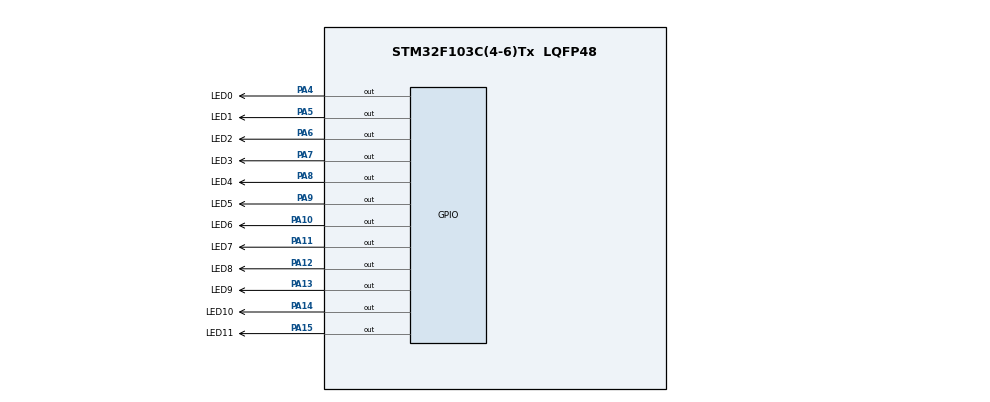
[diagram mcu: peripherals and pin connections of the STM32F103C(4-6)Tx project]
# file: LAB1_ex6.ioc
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Mcu.Family=STM32F1
Mcu.Name=STM32F103C(4-6)Tx
Mcu.Package=LQFP48
NVIC.PriorityGroup=NVIC_PRIORITYGROUP_4
PA10.GPIO_Label=LED6
PA10.Signal=GPIO_Output
PA11.GPIO_Label=LED7
PA11.Signal=GPIO_Output
PA12.GPIO_Label=LED8
PA12.Signal=GPIO_Output
PA13.GPIO_Label=LED9
PA13.Signal=GPIO_Output
PA14.GPIO_Label=LED10
PA14.Signal=GPIO_Output
PA15.GPIO_Label=LED11
PA15.Signal=GPIO_Output
PA4.GPIO_Label=LED0
PA4.Signal=GPIO_Output
PA5.GPIO_Label=LED1
PA5.Signal=GPIO_Output
PA6.GPIO_Label=LED2
PA6.Signal=GPIO_Output
PA7.GPIO_Label=LED3
PA7.Signal=GPIO_Output
PA8.GPIO_Label=LED4
PA8.Signal=GPIO_Output
PA9.GPIO_Label=LED5
PA9.Signal=GPIO_Output
ProjectManager.HeapSize=0x200
ProjectManager.StackSize=0x400
ProjectManager.TargetToolchain=STM32CubeIDE
RCC.APB1Freq_Value=8000000
RCC.APB2Freq_Value=8000000
VP_SYS_VS_ND.Mode=No_Debug
board=custom

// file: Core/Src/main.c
/* USER CODE BEGIN Header */
/**
  ******************************************************************************
  * @file           : main.c
  * @brief          : Main program body
  ******************************************************************************
  * @attention
  *
  * <h2><center>&copy; Copyright (c) 2025 STMicroelectronics.
  * All rights reserved.</center></h2>
  *
  * This software component is licensed by ST under BSD 3-Clause license,
  * the "License"; You may not use this file except in compliance with the
  * License. You may obtain a copy of the License at:
  *                        opensource.org/licenses/BSD-3-Clause
  *
  ******************************************************************************
  */
/* USER CODE END Header */
#include "main.h"

void SystemClock_Config(void);
static void MX_GPIO_Init(void);

/* USER CODE BEGIN 0 */
typedef struct {
    GPIO_TypeDef *port;
    uint16_t pin;
} Led;

static const Led LEDS[12] = {
    {LED0_GPIO_Port, LED0_Pin},
    {LED1_GPIO_Port, LED1_Pin},
    {LED2_GPIO_Port, LED2_Pin},
    {LED3_GPIO_Port, LED3_Pin},
    {LED4_GPIO_Port, LED4_Pin},
    {LED5_GPIO_Port, LED5_Pin},
    {LED6_GPIO_Port, LED6_Pin},
    {LED7_GPIO_Port, LED7_Pin},
    {LED8_GPIO_Port, LED8_Pin},
    {LED9_GPIO_Port, LED9_Pin},
    {LED10_GPIO_Port, LED10_Pin},
    {LED11_GPIO_Port, LED11_Pin}
};
void turnAllClock() {
	for (int num = 0; num < 12; num++) {
		HAL_GPIO_WritePin(LEDS[num].port, LEDS[num].pin, GPIO_PIN_RESET);
	}
}
void clearAllClock() {
    for (int i = 0; i < 12; i++) {
        HAL_GPIO_WritePin(LEDS[i].port, LEDS[i].pin, GPIO_PIN_SET);
    }
}

void setNumberOnClock(int num) {
    HAL_GPIO_WritePin(LEDS[num].port, LEDS[num].pin, GPIO_PIN_RESET);
}

void clearNumberOnClock (int num) {
	 HAL_GPIO_WritePin(LEDS[num].port, LEDS[num].pin, GPIO_PIN_SET);
}

void displayTime (int hr, int min, int sec) {
    static int prev_hr  = -1;
    static int prev_min = -1;
    static int prev_sec = -1;

    int sec_idx = sec / 5;
    int min_idx = min / 5;
    int hr_idx  = hr % 12;

    if (prev_hr  != -1 && prev_hr  != hr_idx)  clearNumberOnClock(prev_hr);
    if (prev_min != -1 && prev_min != min_idx) clearNumberOnClock(prev_min);
    if (prev_sec != -1 && prev_sec != sec_idx) clearNumberOnClock(prev_sec);

    setNumberOnClock(hr_idx);
    setNumberOnClock(min_idx);
    setNumberOnClock(sec_idx);

    prev_hr  = hr_idx;
    prev_min = min_idx;
    prev_sec = sec_idx;
}
void clock () {
	static int hr = 0;
	static int min = 0;
	static int sec = 5;
	displayTime(hr, min, sec);
	sec++;
	if (sec >=60) {
		sec = 0;
		min++;
		if (min >= 60) {
			min = 0;
			hr++;
			if (hr >= 12) {
				hr = 0;
			}
		}
	}
}

/* USER CODE END 0 */

int main(void)
{

  /* MCU Configuration--------------------------------------------------------*/

  /* Reset of all peripherals, Initializes the Flash interface and the Systick. */
  HAL_Init();

  /* Configure the system clock */
  SystemClock_Config();

  /* Initialize all configured peripherals */
  MX_GPIO_Init();
  /* USER CODE BEGIN 2 */
  clearAllClock();
  /* USER CODE END 2 */

  /* Infinite loop */
  /* USER CODE BEGIN WHILE */
  while (1)
  {
	  clock();
	  HAL_Delay(10);
    /* USER CODE END WHILE */

  }
}

void SystemClock_Config(void)
{
  RCC_OscInitTypeDef RCC_OscInitStruct = {0};
  RCC_ClkInitTypeDef RCC_ClkInitStruct = {0};

  /** Initializes the RCC Oscillators according to the specified parameters
  * in the RCC_OscInitTypeDef structure.
  */
  RCC_OscInitStruct.OscillatorType = RCC_OSCILLATORTYPE_HSI;
  RCC_OscInitStruct.HSIState = RCC_HSI_ON;
  RCC_OscInitStruct.HSICalibrationValue = RCC_HSICALIBRATION_DEFAULT;
  RCC_OscInitStruct.PLL.PLLState = RCC_PLL_NONE;
  if (HAL_RCC_OscConfig(&RCC_OscInitStruct) != HAL_OK)
  {
    Error_Handler();
  }
  /** Initializes the CPU, AHB and APB buses clocks
  */
  RCC_ClkInitStruct.ClockType = RCC_CLOCKTYPE_HCLK|RCC_CLOCKTYPE_SYSCLK
                              |RCC_CLOCKTYPE_PCLK1|RCC_CLOCKTYPE_PCLK2;
  RCC_ClkInitStruct.SYSCLKSource = RCC_SYSCLKSOURCE_HSI;
  RCC_ClkInitStruct.AHBCLKDivider = RCC_SYSCLK_DIV1;
  RCC_ClkInitStruct.APB1CLKDivider = RCC_HCLK_DIV1;
  RCC_ClkInitStruct.APB2CLKDivider = RCC_HCLK_DIV1;

  if (HAL_RCC_ClockConfig(&RCC_ClkInitStruct, FLASH_LATENCY_0) != HAL_OK)
  {
    Error_Handler();
  }
}

static void MX_GPIO_Init(void)
{
  GPIO_InitTypeDef GPIO_InitStruct = {0};

  /* GPIO Ports Clock Enable */
  __HAL_RCC_GPIOA_CLK_ENABLE();

  /*Configure GPIO pin Output Level */
  HAL_GPIO_WritePin(GPIOA, LED0_Pin|LED1_Pin|LED2_Pin|LED3_Pin
                          |LED4_Pin|LED5_Pin|LED6_Pin|LED7_Pin
                          |LED8_Pin|LED9_Pin|LED10_Pin|LED11_Pin, GPIO_PIN_RESET);

  /*Configure GPIO pins : LED0_Pin LED1_Pin LED2_Pin LED3_Pin
                           LED4_Pin LED5_Pin LED6_Pin LED7_Pin
                           LED8_Pin LED9_Pin LED10_Pin LED11_Pin */
  GPIO_InitStruct.Pin = LED0_Pin|LED1_Pin|LED2_Pin|LED3_Pin
                          |LED4_Pin|LED5_Pin|LED6_Pin|LED7_Pin
                          |LED8_Pin|LED9_Pin|LED10_Pin|LED11_Pin;
  GPIO_InitStruct.Mode = GPIO_MODE_OUTPUT_PP;
  GPIO_InitStruct.Pull = GPIO_NOPULL;
  GPIO_InitStruct.Speed = GPIO_SPEED_FREQ_LOW;
  HAL_GPIO_Init(GPIOA, &GPIO_InitStruct);

}

void Error_Handler(void)
{
  __disable_irq();
  while (1)
  {
  }
}

/************************ (C) COPYRIGHT STMicroelectronics *****END OF FILE****/
